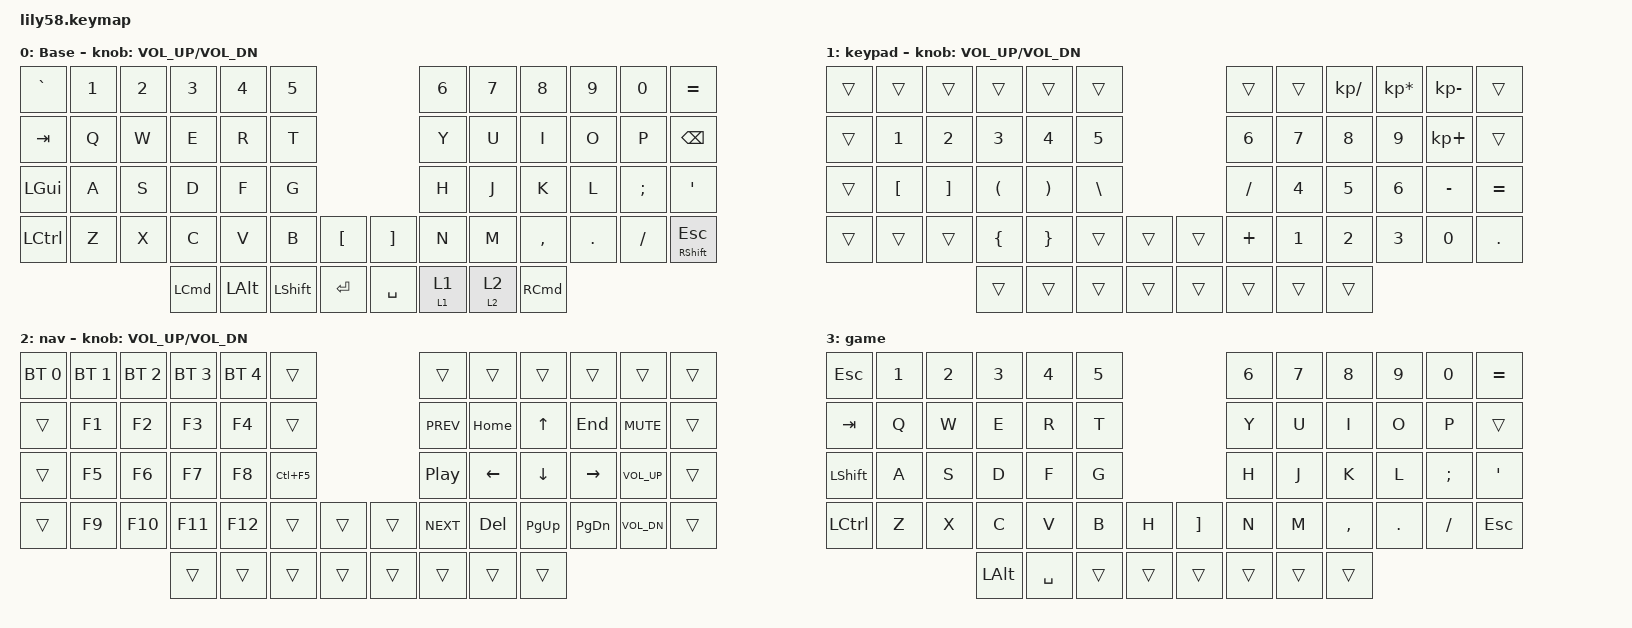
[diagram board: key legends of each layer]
/*
 * Copyright (c) 2020 The ZMK Contributors
 *
 * SPDX-License-Identifier: MIT
 */

#include <behaviors.dtsi>
#include <dt-bindings/zmk/bt.h>
#include <dt-bindings/zmk/keys.h>

#define MO_TOG(layer) &mo_tog layer layer   // Macro to apply momentary-layer-on-hold/toggle-layer-on-tap to a specific layer

/ {
    behaviors {
        mo_tog: behavior_mo_tog {
            compatible = "zmk,behavior-hold-tap";
            label = "mo_tog";
            #binding-cells = <2>;
            flavor = "hold-preferred";
            tapping-term-ms = <200>;
            bindings = <&mo>, <&tog>;
        };
    };

    keymap {
        compatible = "zmk,keymap";

        default_layer {
            // ------------------------------------------------------------------------------------------------------------
            // |  ESC  |  1  |  2  |  3   |  4   |  5   |                   |  6   |  7    |  8    |  9   |   0   |   `   |
            // |  TAB  |  Q  |  W  |  E   |  R   |  T   |                   |  Y   |  U    |  I    |  O   |   P   |   -   |
            // |  CTRL |  A  |  S  |  D   |  F   |  G   |                   |  H   |  J    |  K    |  L   |   ;   |   '   |
            // | SHIFT |  Z  |  X  |  C   |  V   |  B   |   "["  |  |  "]"  |  N   |  M    |  ,    |  .   |   /   | SHIFT |
            //                     | ALT  | GUI  | LOWER|  SPACE |  | ENTER | RAISE| BSPC  | GUI   |

            display-name = "Base";
            bindings = <
&kp GRAVE  &kp N1  &kp N2  &kp N3            &kp N4    &kp N5                             &kp N6       &kp N7       &kp N8             &kp N9   &kp N0    &kp EQUAL
&kp TAB    &kp Q   &kp W   &kp E             &kp R     &kp T                              &kp Y        &kp U        &kp I              &kp O    &kp P     &kp BACKSPACE
&kp LGUI   &kp A   &kp S   &kp D             &kp F     &kp G                              &kp H        &kp J        &kp K              &kp L    &kp SEMI  &kp SQT
&kp LCTRL  &kp Z   &kp X   &kp C             &kp V     &kp B      &kp LBKT     &kp RBKT   &kp N        &kp M        &kp COMMA          &kp DOT  &kp FSLH  &mt RIGHT_SHIFT ESC
                           &kp LEFT_COMMAND  &kp LALT  &kp LSHFT  &kp ENTER    &kp SPACE  &mo_tog 1 1  &mo_tog 2 2  &kp RIGHT_COMMAND
            >;

            sensor-bindings = <&inc_dec_kp C_VOL_UP C_VOL_DN>;
        };

        lower_layer {
            // ------------------------------------------------------------------------------------------------------------
            // | BTCLR | BT1 | BT2 |  BT3 |  BT4 |  BT5 |                   |      |       |       |      |       |       |
            // |  F1   |  F2 |  F3 |  F4  |  F5  |  F6  |                   |  F7  |  F8   |  F9   |  F10 |  F11  |  F12  |
            // |   `   |  !  |  @  |  #   |  $   |  %   |                   |  ^   |  &    |  *    |  (   |   )   |   ~   |
            // |       |     |     |      |      |      |        |  |       |      |  _    |  +    |  {   |   }   |  "|"  |
            //                     |      |      |      |        |  |       |      |       |       |

            display-name = "keypad";
            bindings = <
&trans  &trans            &trans             &trans                &trans                 &trans                           &trans        &trans        &kp KP_DIVIDE  &kp KP_MULTIPLY  &kp KP_MINUS  &trans
&trans  &kp NUMBER_1      &kp NUMBER_2       &kp NUMBER_3          &kp NUMBER_4           &kp N5                           &kp NUMBER_6  &kp N7        &kp N8         &kp N9           &kp KP_PLUS   &trans
&trans  &kp LEFT_BRACKET  &kp RIGHT_BRACKET  &kp LEFT_PARENTHESIS  &kp RIGHT_PARENTHESIS  &kp BACKSLASH                    &kp SLASH     &kp NUMBER_4  &kp N5         &kp NUMBER_6     &kp MINUS     &kp EQUAL
&trans  &trans            &trans             &kp LEFT_BRACE        &kp RIGHT_BRACE        &trans         &trans    &trans  &kp PLUS      &kp NUMBER_1  &kp NUMBER_2   &kp NUMBER_3     &kp N0        &kp PERIOD
                                             &trans                &trans                 &trans         &trans    &trans  &trans        &trans        &trans
            >;

            sensor-bindings = <&inc_dec_kp C_VOL_UP C_VOL_DN>;
        };

        raise_layer {
            // ------------------------------------------------------------------------------------------------------------
            // |       |     |     |      |      |      |                   |      |       |       |      |       |       |
            // |   `   |  1  |  2  |  3   |  4   |  5   |                   |  6   |   7   |   8   |  9   |   0   |       |
            // |   F1  |  F2 |  F3 |  F4  |  F5  |  F6  |                   |      |   <-  |   v   |  ^   |  ->   |       |
            // |   F7  |  F8 |  F9 |  F10 |  F11 |  F12 |        |  |       |  +   |   -   |   =   |  [   |   ]   |   \   |
            //                     |      |      |      |        |  |       |      |       |       |

            display-name = "nav";
            bindings = <
&bt BT_SEL 0  &bt BT_SEL 1  &bt BT_SEL 2  &bt BT_SEL 3  &bt BT_SEL 4  &trans                        &trans            &trans    &trans       &trans         &trans        &trans
&trans        &kp F1        &kp F2        &kp F3        &kp F4        &trans                        &kp C_PREV        &kp HOME  &kp UP       &kp END        &kp C_MUTE    &trans
&trans        &kp F5        &kp F6        &kp F7        &kp F8        &kp LC(F5)                    &kp C_PLAY_PAUSE  &kp LEFT  &kp DOWN     &kp RIGHT      &kp C_VOL_UP  &trans
&trans        &kp F9        &kp F10       &kp F11       &kp F12       &trans      &trans    &trans  &kp C_NEXT        &kp DEL   &kp PAGE_UP  &kp PAGE_DOWN  &kp C_VOL_DN  &trans
                                          &trans        &trans        &trans      &trans    &trans  &trans            &trans    &trans
            >;

            sensor-bindings = <&inc_dec_kp C_VOL_UP C_VOL_DN>;
        };

        game {
            bindings = <
&kp ESC    &kp N1  &kp N2  &kp N3        &kp N4     &kp N5                      &kp N6  &kp N7  &kp N8     &kp N9   &kp N0    &kp EQUAL
&kp TAB    &kp Q   &kp W   &kp E         &kp R      &kp T                       &kp Y   &kp U   &kp I      &kp O    &kp P     &trans
&kp LSHFT  &kp A   &kp S   &kp D         &kp F      &kp G                       &kp H   &kp J   &kp K      &kp L    &kp SEMI  &kp SQT
&kp LCTRL  &kp Z   &kp X   &kp C         &kp V      &kp B   &kp H     &kp RBKT  &kp N   &kp M   &kp COMMA  &kp DOT  &kp FSLH  &kp ESC
                           &kp LEFT_ALT  &kp SPACE  &trans  &trans    &trans    &trans  &trans  &trans
            >;
        };
    };

    conditional_layers {
        compatible = "zmk,conditional-layers";

        tri-layer {
            if-layers = <1 2>;
            then-layer = <3>;
        };
    };
};
